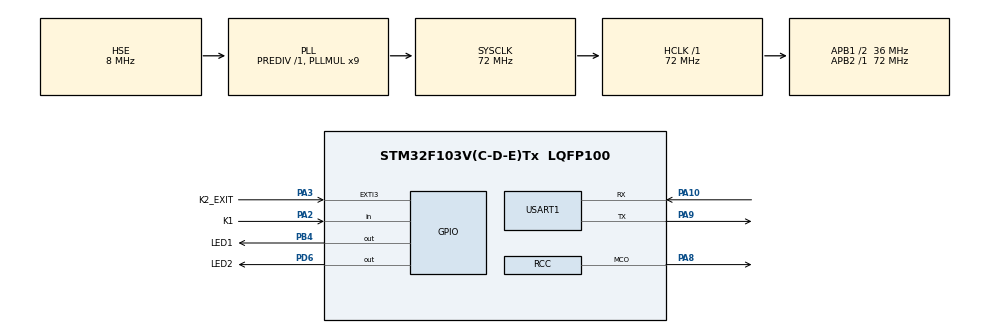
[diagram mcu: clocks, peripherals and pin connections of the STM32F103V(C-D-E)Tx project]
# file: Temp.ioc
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Mcu.Family=STM32F1
Mcu.Name=STM32F103V(C-D-E)Tx
Mcu.Package=LQFP100
NVIC.EXTI3_IRQn=true\:0\:0\:false\:false\:true\:true\:true\:true
NVIC.PriorityGroup=NVIC_PRIORITYGROUP_4
NVIC.USART1_IRQn=true\:0\:0\:false\:false\:true\:true\:true\:true
OSC_IN.Mode=HSE-External-Oscillator
OSC_IN.Signal=RCC_OSC_IN
OSC_OUT.Mode=HSE-External-Oscillator
OSC_OUT.Signal=RCC_OSC_OUT
PA10.Mode=Asynchronous
PA10.Signal=USART1_RX
PA13.Mode=Serial_Wire
PA13.Signal=SYS_JTMS-SWDIO
PA14.Mode=Serial_Wire
PA14.Signal=SYS_JTCK-SWCLK
PA2.GPIO_Label=K1
PA2.Signal=GPIO_Input
PA3.GPIO_Label=K2_EXIT
PA3.GPIO_ModeDefaultEXTI=GPIO_MODE_IT_FALLING
PA3.Signal=GPXTI3
PA8.Mode=Clock-out
PA8.Signal=RCC_MCO
PA9.Mode=Asynchronous
PA9.Signal=USART1_TX
PB4.GPIO_Label=LED1
PB4.GPIO_ModeDefaultOutputPP=GPIO_MODE_OUTPUT_PP
PB4.GPIO_PuPd=GPIO_PULLUP
PB4.GPIO_Speed=GPIO_SPEED_FREQ_HIGH
PB4.PinState=GPIO_PIN_SET
PB4.Signal=GPIO_Output
PC14-OSC32_IN.Mode=LSE-External-Oscillator
PC14-OSC32_IN.Signal=RCC_OSC32_IN
PC15-OSC32_OUT.Mode=LSE-External-Oscillator
PC15-OSC32_OUT.Signal=RCC_OSC32_OUT
PD6.GPIO_Label=LED2
PD6.GPIO_ModeDefaultOutputPP=GPIO_MODE_OUTPUT_PP
PD6.GPIO_PuPd=GPIO_PULLUP
PD6.GPIO_Speed=GPIO_SPEED_FREQ_HIGH
PD6.PinState=GPIO_PIN_SET
PD6.Signal=GPIO_Output
ProjectManager.HeapSize=0x200
ProjectManager.StackSize=0x400
ProjectManager.TargetToolchain=Makefile
RCC.AHBFreq_Value=72000000
RCC.APB1CLKDivider=RCC_HCLK_DIV2
RCC.APB1Freq_Value=36000000
RCC.APB1TimFreq_Value=72000000
RCC.APB2Freq_Value=72000000
RCC.APB2TimFreq_Value=72000000
RCC.HCLKFreq_Value=72000000
RCC.PLLMUL=RCC_PLL_MUL9
RCC.PLLSourceVirtual=RCC_PLLSOURCE_HSE
RCC.RCC_MCOSource=RCC_MCO1SOURCE_PLLCLK
RCC.SYSCLKFreq_VALUE=72000000
RCC.SYSCLKSource=RCC_SYSCLKSOURCE_PLLCLK
RCC.USBFreq_Value=72000000
USART1.VirtualMode=VM_ASYNC
board=custom

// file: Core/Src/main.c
/* USER CODE BEGIN Header */
/**
  ******************************************************************************
  * @file           : main.c
  * @brief          : Main program body
  ******************************************************************************
  * @attention
  *
  * Copyright (c) 2025 STMicroelectronics.
  * All rights reserved.
  *
  * This software is licensed under terms that can be found in the LICENSE file
  * in the root directory of this software component.
  * If no LICENSE file comes with this software, it is provided AS-IS.
  *
  ******************************************************************************
  */
/* USER CODE END Header */
#include "main.h"

/* USER CODE BEGIN Includes */
#include "stdio.h"//printf函数
/* USER CODE END Includes */

/* USER CODE BEGIN PTD */
uint8_t rx_buff[100];  //接收缓存
uint8_t rx_done = 0; //接收完成标志
uint8_t rx_cnt = 0;//接收数据长度
/* USER CODE END PTD */

UART_HandleTypeDef huart1;

void SystemClock_Config(void);
static void MX_GPIO_Init(void);
static void MX_USART1_UART_Init(void);

int main(void)
{

  /* MCU Configuration--------------------------------------------------------*/

  /* Reset of all peripherals, Initializes the Flash interface and the Systick. */
  HAL_Init();

  /* Configure the system clock */
  SystemClock_Config();

  /* Initialize all configured peripherals */
  MX_GPIO_Init();
  MX_USART1_UART_Init();
  /* USER CODE BEGIN 2 */
  //串口发�?�数据测�?
  unsigned char Sendbuf[] = "RYMCU nebula-pi usart1 test!\r\n";
  HAL_UART_Transmit(&huart1,Sendbuf, sizeof(Sendbuf), HAL_MAX_DELAY); // 串口发�?�数�?
  HAL_Delay(1000);
  //printf打印数据测试
  printf("hello,enjoy!\r\n");
  HAL_Delay(1000);
  /* USER CODE END 2 */

  /* Infinite loop */
  while (1)
  {

    /* USER CODE BEGIN 3 */
    if(rx_done == 1)//判读是否接收完成
    {
        rx_done = 0;//清除接收标志
        //数据处理，打印接收长度和接收的数据
        printf("length of rx data: %d!\r\n",rx_cnt);
        for(int i = 0;i<rx_cnt;i++) printf("%c",rx_buff[i]);
        printf("\r\n");

        rx_cnt =0;//清除接收长度
    }
    HAL_GPIO_TogglePin(LED1_GPIO_Port, LED1_Pin); // 切换亮灭状态，添加此语句防止优化
  }
  /* USER CODE END 3 */
}

void SystemClock_Config(void)
{
  RCC_OscInitTypeDef RCC_OscInitStruct = {0};
  RCC_ClkInitTypeDef RCC_ClkInitStruct = {0};

  /** Initializes the RCC Oscillators according to the specified parameters
  * in the RCC_OscInitTypeDef structure.
  */
  RCC_OscInitStruct.OscillatorType = RCC_OSCILLATORTYPE_HSE;
  RCC_OscInitStruct.HSEState = RCC_HSE_ON;
  RCC_OscInitStruct.HSEPredivValue = RCC_HSE_PREDIV_DIV1;
  RCC_OscInitStruct.HSIState = RCC_HSI_ON;
  RCC_OscInitStruct.PLL.PLLState = RCC_PLL_ON;
  RCC_OscInitStruct.PLL.PLLSource = RCC_PLLSOURCE_HSE;
  RCC_OscInitStruct.PLL.PLLMUL = RCC_PLL_MUL9;
  if (HAL_RCC_OscConfig(&RCC_OscInitStruct) != HAL_OK)
  {
    Error_Handler();
  }

  /** Initializes the CPU, AHB and APB buses clocks
  */
  RCC_ClkInitStruct.ClockType = RCC_CLOCKTYPE_HCLK|RCC_CLOCKTYPE_SYSCLK
                              |RCC_CLOCKTYPE_PCLK1|RCC_CLOCKTYPE_PCLK2;
  RCC_ClkInitStruct.SYSCLKSource = RCC_SYSCLKSOURCE_PLLCLK;
  RCC_ClkInitStruct.AHBCLKDivider = RCC_SYSCLK_DIV1;
  RCC_ClkInitStruct.APB1CLKDivider = RCC_HCLK_DIV2;
  RCC_ClkInitStruct.APB2CLKDivider = RCC_HCLK_DIV1;

  if (HAL_RCC_ClockConfig(&RCC_ClkInitStruct, FLASH_LATENCY_2) != HAL_OK)
  {
    Error_Handler();
  }
  HAL_RCC_MCOConfig(RCC_MCO, RCC_MCO1SOURCE_PLLCLK, RCC_MCODIV_1);
}

static void MX_USART1_UART_Init(void)
{

  huart1.Instance = USART1;
  huart1.Init.BaudRate = 115200;
  huart1.Init.WordLength = UART_WORDLENGTH_8B;
  huart1.Init.StopBits = UART_STOPBITS_1;
  huart1.Init.Parity = UART_PARITY_NONE;
  huart1.Init.Mode = UART_MODE_TX_RX;
  huart1.Init.HwFlowCtl = UART_HWCONTROL_NONE;
  huart1.Init.OverSampling = UART_OVERSAMPLING_16;
  if (HAL_UART_Init(&huart1) != HAL_OK)
  {
    Error_Handler();
  }
  /* USER CODE BEGIN USART1_Init 2 */
  //开启接收中断，空闲中断
  __HAL_UART_ENABLE_IT(&huart1,UART_IT_IDLE|UART_IT_RXNE);
  /* USER CODE END USART1_Init 2 */

}

static void MX_GPIO_Init(void)
{
  GPIO_InitTypeDef GPIO_InitStruct = {0};

  /* GPIO Ports Clock Enable */
  __HAL_RCC_GPIOC_CLK_ENABLE();
  __HAL_RCC_GPIOA_CLK_ENABLE();
  __HAL_RCC_GPIOD_CLK_ENABLE();
  __HAL_RCC_GPIOB_CLK_ENABLE();

  /*Configure GPIO pin Output Level */
  HAL_GPIO_WritePin(LED2_GPIO_Port, LED2_Pin, GPIO_PIN_SET);

  /*Configure GPIO pin Output Level */
  HAL_GPIO_WritePin(LED1_GPIO_Port, LED1_Pin, GPIO_PIN_SET);

  /*Configure GPIO pin : K1_Pin */
  GPIO_InitStruct.Pin = K1_Pin;
  GPIO_InitStruct.Mode = GPIO_MODE_INPUT;
  GPIO_InitStruct.Pull = GPIO_NOPULL;
  HAL_GPIO_Init(K1_GPIO_Port, &GPIO_InitStruct);

  /*Configure GPIO pin : K2_EXIT_Pin */
  GPIO_InitStruct.Pin = K2_EXIT_Pin;
  GPIO_InitStruct.Mode = GPIO_MODE_IT_FALLING;
  GPIO_InitStruct.Pull = GPIO_NOPULL;
  HAL_GPIO_Init(K2_EXIT_GPIO_Port, &GPIO_InitStruct);

  /*Configure GPIO pin : PA8 */
  GPIO_InitStruct.Pin = GPIO_PIN_8;
  GPIO_InitStruct.Mode = GPIO_MODE_AF_PP;
  GPIO_InitStruct.Speed = GPIO_SPEED_FREQ_LOW;
  HAL_GPIO_Init(GPIOA, &GPIO_InitStruct);

  /*Configure GPIO pin : LED2_Pin */
  GPIO_InitStruct.Pin = LED2_Pin;
  GPIO_InitStruct.Mode = GPIO_MODE_OUTPUT_PP;
  GPIO_InitStruct.Pull = GPIO_PULLUP;
  GPIO_InitStruct.Speed = GPIO_SPEED_FREQ_HIGH;
  HAL_GPIO_Init(LED2_GPIO_Port, &GPIO_InitStruct);

  /*Configure GPIO pin : LED1_Pin */
  GPIO_InitStruct.Pin = LED1_Pin;
  GPIO_InitStruct.Mode = GPIO_MODE_OUTPUT_PP;
  GPIO_InitStruct.Pull = GPIO_PULLUP;
  GPIO_InitStruct.Speed = GPIO_SPEED_FREQ_HIGH;
  HAL_GPIO_Init(LED1_GPIO_Port, &GPIO_InitStruct);

  /* EXTI interrupt init*/
  HAL_NVIC_SetPriority(EXTI3_IRQn, 0, 0);
  HAL_NVIC_EnableIRQ(EXTI3_IRQn);

}

/* USER CODE BEGIN 4 */
#ifdef __GNUC__
#define PUTCHAR_PROTOTYPE int __io_putchar(int ch)
#else
#define PUTCHAR_PROTOTYPE int fputc(int ch,FILE *f)
#endif /* __GNUC__ */
//重定向printf函数
PUTCHAR_PROTOTYPE
{
    HAL_UART_Transmit(&huart1,(uint8_t *)&ch,1,HAL_MAX_DELAY);//输出指向串口USART1
    return ch;
}
//重写GPIO中断处理函数
void HAL_GPIO_EXTI_Callback(uint16_t GPIO_Pin)
{
    //翻转LED1
    HAL_GPIO_TogglePin(LED1_GPIO_Port,LED1_Pin);
    //打印中断处理信息
    printf("K2 ExTi interrput!\r\n");
}
/* USER CODE END 4 */

void Error_Handler(void)
{
  __disable_irq();
  while (1)
  {
  }
}
